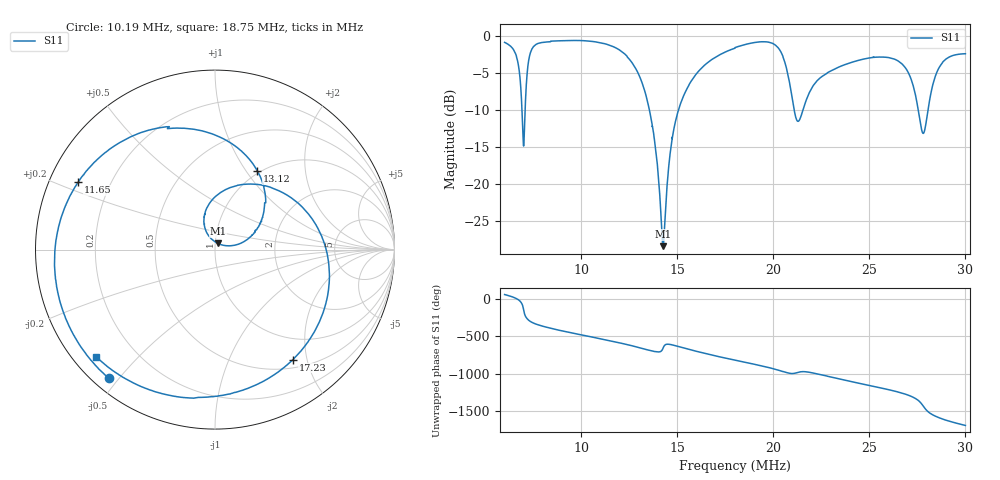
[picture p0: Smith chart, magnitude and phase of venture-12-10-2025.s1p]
# HZ S RI R 50
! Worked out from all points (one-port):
!   4020 points, 6 MHz to 30 MHz, reference 50 ohm
!   lowest |S11| = -28.4 dB at 14.25 MHz (marker M1), VSWR 1.08, Z = 51.6 + j3.52 ohm
!   |S11| at or under -10 dB: 13.54 MHz to 15.06 MHz (1.512 MHz wide, 10.6 % of centre); 21.08 MHz to 21.54 MHz (456.8 kHz wide, 2.14 % of centre); 27.55 MHz to 28.05 MHz (508.6 kHz wide, 1.83 % of centre)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
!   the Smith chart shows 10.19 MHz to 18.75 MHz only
!   S11 on the Smith chart (normalised r, x): 10.19 MHz: 0.05, -0.47; 11.65 MHz: 0.09, +0.23; 13.12 MHz: 0.97, +1.13; 17.23 MHz: 0.63, -1.76; 18.75 MHz: 0.07, -0.38
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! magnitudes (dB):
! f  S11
! 6 MHz  -0.9
! 6.639 MHz  -3.0
! 6.985 MHz  -14.9
! 7.23 MHz  -3.7
! 7.427 MHz  -1.7
! 9.004 MHz  -0.6
! 10.19 MHz  -0.6
! 11.65 MHz  -1.4
! 12 MHz  -1.9
! 13.12 MHz  -6.1
! 13.78 MHz  -13.5
! 14.25 MHz  -28.4
! 14.63 MHz  -15.7
! 15.01 MHz  -10.4
! 15.87 MHz  -5.5
! 17.23 MHz  -2.5
! 18 MHz  -1.6
! 18.75 MHz  -1.0
! 20.27 MHz  -1.7
! 21 MHz  -8.8
! 21.32 MHz  -11.5
! 22.26 MHz  -6.1
! 24.01 MHz  -3.6
! 25.99 MHz  -2.9
! 27 MHz  -4.8
! 27.81 MHz  -13.2
! 28.63 MHz  -4.3
! 30 MHz  -2.4
